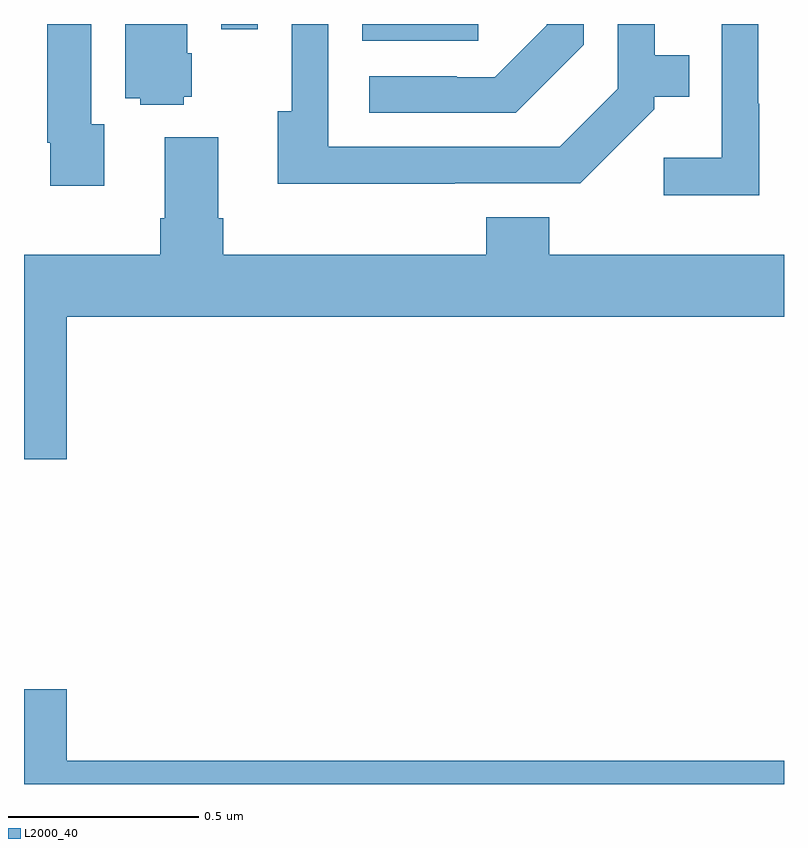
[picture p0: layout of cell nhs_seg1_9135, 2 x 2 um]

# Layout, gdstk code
import gdstk
lib = gdstk.Library(unit=1e-6, precision=1e-09)
def R(c, l, rs):  # rectangles x0, y0, x1, y1
    for r in rs: c.add(gdstk.rectangle(r[:2], r[2:], *l))
def P(c, l, *ps):  # polygons
    for p in ps: c.add(gdstk.Polygon(p, *l))
L2000_40 = (2000, 40)

nhs_seg1_9135 = lib.new_cell('nhs_seg1_9135')
R(nhs_seg1_9135, L2000_40, [(225.89,523.155,226.195,523.199), (225.519,523.185,225.615,523.199)])
P(nhs_seg1_9135, L2000_40, [(226.935,522.989),(226.932,522.989),(226.932,523.199),(226.836,523.199),(226.836,522.847),(226.683,522.847),(226.683,522.749),(226.935,522.749)],
  [(226.473,523.145),(226.473,523.199),(226.376,523.199),(226.376,523.196),(226.239,523.059),(226.139,523.059),(226.139,523.062),(225.909,523.062),(225.909,522.966),(226.294,522.966)],
  [(225.211,522.935),(225.177,522.935),(225.177,523.199),(225.061,523.199),(225.061,522.886),(225.069,522.886),(225.069,522.774),(225.211,522.774)],
  [(226.133,522.78),(226.464,522.78),(226.659,522.975),(226.659,523.007),(226.751,523.007),(226.751,523.117),(226.66,523.117),(226.66,523.199),(226.563,523.199),(226.563,523.029),(226.41,522.876),(225.801,522.876),(225.801,523.199),(225.705,523.199),(225.705,522.97),(225.668,522.97),(225.668,522.779),(226.133,522.779)],
  [(225.42,523.008),(225.442,523.008),(225.442,523.122),(225.43,523.122),(225.43,523.199),(225.266,523.199),(225.266,523.004),(225.306,523.004),(225.306,522.986),(225.42,522.986)],
  [(225.112,522.428),(227,522.428),(227,522.592),(226.382,522.592),(226.382,522.691),(226.217,522.691),(226.217,522.592),(225.524,522.592),(225.524,522.688),(225.511,522.688),(225.511,522.901),(225.371,522.901),(225.371,522.688),(225.359,522.688),(225.359,522.592),(225,522.592),(225,522.054),(225.112,522.054)],
  [(227,521.26),(225.112,521.26),(225.112,521.449),(225,521.449),(225,521.199),(227,521.199)])

lib.write_gds('nhs_seg1_9135.gds')
